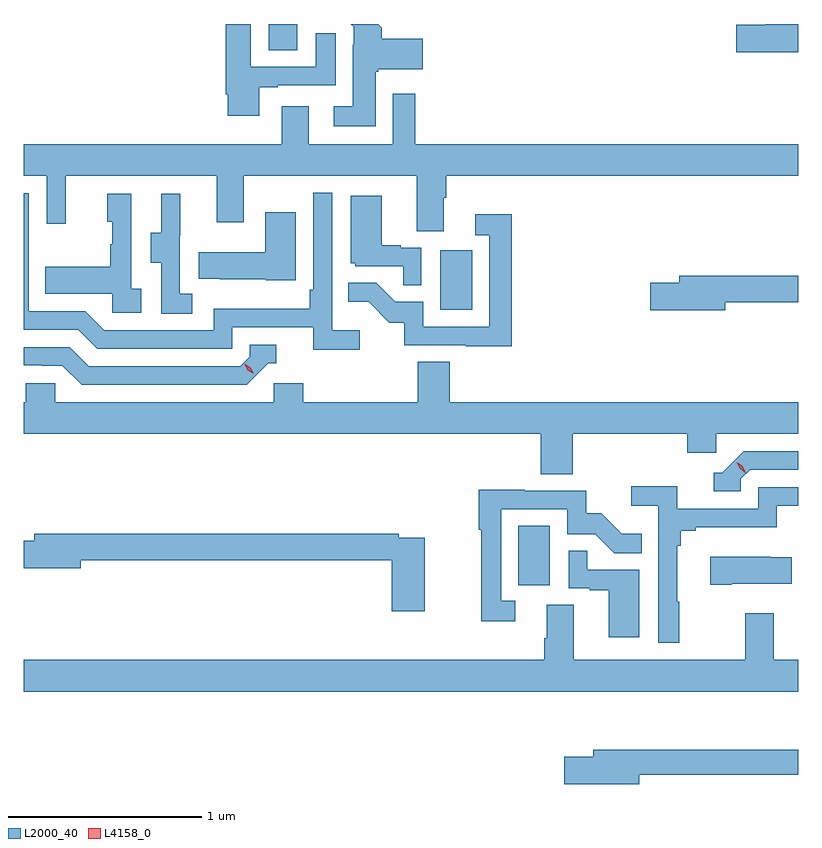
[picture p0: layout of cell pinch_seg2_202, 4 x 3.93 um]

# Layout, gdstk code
import gdstk
lib = gdstk.Library(unit=1e-6, precision=1e-09)
def R(c, l, rs):  # rectangles x0, y0, x1, y1
    for r in rs: c.add(gdstk.rectangle(r[:2], r[2:], *l))
def P(c, l, *ps):  # polygons
    for p in ps: c.add(gdstk.Polygon(p, *l))
L2000_40 = (2000, 40)
L4158_0 = (4158, 0)

pinch_seg2_202 = lib.new_cell('pinch_seg2_202')
R(pinch_seg2_202, L2000_40, [(972.068,649.518,972.232,649.825), (971.666,650.94,971.83,651.247), (970.778,652.282,970.927,652.417)])
P(pinch_seg2_202, L2000_40, [(970.729,652.089),(970.825,652.089),(970.825,652.101),(971.125,652.101),(971.125,652.369),(971.021,652.369),(971.021,652.197),(970.687,652.197),(970.687,652.417),(970.556,652.417),(970.556,652.054),(970.568,652.054),(970.568,651.942),(970.729,651.942)],
  [(973.514,652.417),(973.343,652.417),(973.343,652.412),(973.194,652.412),(973.194,652.27),(973.514,652.27)],
  [(971.332,652.17),(971.346,652.17),(971.346,652.184),(971.575,652.184),(971.575,652.342),(971.363,652.342),(971.363,652.398),(971.344,652.417),(971.204,652.417),(971.217,652.404),(971.217,652.31),(971.213,652.31),(971.213,651.991),(971.115,651.991),(971.115,651.89),(971.332,651.89)],
  [(971.683,651.52),(971.696,651.52),(971.696,651.632),(973.514,651.632),(973.514,651.796),(971.537,651.796),(971.537,652.057),(971.421,652.057),(971.421,651.796),(970.987,651.796),(970.987,651.991),(970.847,651.991),(970.847,651.796),(969.514,651.796),(969.514,651.632),(969.633,651.632),(969.633,651.384),(969.731,651.384),(969.731,651.632),(970.511,651.632),(970.511,651.393),(970.651,651.393),(970.651,651.632),(971.543,651.632),(971.543,651.346),(971.683,651.346)],
  [(971.248,650.836),(971.106,650.836),(971.106,651.544),(971.01,651.544),(971.01,651.043),(970.99,651.043),(970.99,650.947),(970.494,650.947),(970.494,650.835),(969.93,650.835),(969.831,650.934),(969.54,650.934),(969.54,651.543),(969.514,651.543),(969.514,650.838),(969.794,650.838),(969.893,650.739),(970.59,650.739),(970.59,650.85),(971.009,650.85),(971.009,650.734),(971.248,650.734)],
  [(970.384,651.023),(970.32,651.023),(970.32,651.327),(970.322,651.327),(970.322,651.541),(970.223,651.541),(970.223,651.339),(970.169,651.339),(970.169,651.184),(970.224,651.184),(970.224,650.92),(970.384,650.92)],
  [(970.12,651.05),(970.068,651.05),(970.068,651.541),(969.944,651.541),(969.944,651.396),(969.97,651.396),(969.97,651.278),(969.96,651.278),(969.96,651.163),(969.625,651.163),(969.625,651.023),(969.972,651.023),(969.972,650.925),(970.12,650.925)],
  [(971.568,651.261),(971.462,651.261),(971.462,651.274),(971.362,651.274),(971.362,651.529),(971.204,651.529),(971.204,651.18),(971.226,651.18),(971.226,651.165),(971.473,651.165),(971.473,651.067),(971.568,651.067)],
  [(970.918,651.445),(970.76,651.445),(970.76,651.238),(970.417,651.238),(970.417,651.101),(970.525,651.101),(970.525,651.098),(970.764,651.098),(970.764,651.092),(970.918,651.092)],
  [(972.035,651.433),(971.847,651.433),(971.847,651.327),(971.919,651.327),(971.919,650.853),(971.577,650.853),(971.577,650.982),(971.433,650.982),(971.335,651.08),(971.191,651.08),(971.191,650.981),(971.295,650.981),(971.402,650.874),(971.479,650.874),(971.479,650.757),(971.797,650.757),(971.797,650.752),(972.035,650.752)],
  [(973.138,650.98),(973.514,650.98),(973.514,651.116),(972.899,651.116),(972.899,651.08),(972.75,651.08),(972.75,650.938),(973.138,650.938)],
  [(970.776,650.664),(970.819,650.664),(970.819,650.76),(970.68,650.76),(970.68,650.697),(970.632,650.649),(969.849,650.649),(969.75,650.748),(969.514,650.748),(969.514,650.655),(969.606,650.655),(969.606,650.652),(969.713,650.652),(969.812,650.553),(970.665,650.553)],
  [(972.35,650.3),(972.941,650.3),(972.941,650.202),(973.092,650.202),(973.092,650.3),(973.514,650.3),(973.514,650.464),(971.714,650.464),(971.714,650.672),(971.549,650.672),(971.549,650.464),(970.958,650.464),(970.958,650.562),(970.806,650.562),(970.806,650.464),(969.675,650.464),(969.675,650.562),(969.525,650.562),(969.525,650.464),(969.514,650.464),(969.514,650.3),(972.185,650.3),(972.185,650.092),(972.35,650.092)],
  [(973.218,650.067),(973.266,650.115),(973.514,650.115),(973.514,650.211),(973.233,650.211),(973.122,650.1),(973.079,650.1),(973.079,650.004),(973.218,650.004)],
  [(972.901,649.433),(972.889,649.433),(972.889,649.721),(972.908,649.721),(972.908,649.798),(972.985,649.798),(972.985,649.817),(973.404,649.817),(973.404,649.929),(973.514,649.929),(973.514,650.025),(973.308,650.025),(973.308,649.914),(972.89,649.914),(972.89,650.03),(972.651,650.03),(972.651,649.928),(972.792,649.928),(972.792,649.221),(972.901,649.221)],
  [(972.052,649.437),(971.979,649.437),(971.979,649.911),(972.321,649.911),(972.321,649.782),(972.465,649.782),(972.563,649.684),(972.707,649.684),(972.707,649.783),(972.603,649.783),(972.496,649.89),(972.42,649.89),(972.42,650.007),(972.101,650.007),(972.101,650.012),(971.863,650.012),(971.863,649.804),(971.878,649.804),(971.878,649.332),(972.052,649.332)],
  [(971.584,649.764),(971.45,649.764),(971.45,649.784),(969.569,649.784),(969.569,649.748),(969.514,649.748),(969.514,649.606),(969.808,649.606),(969.808,649.648),(971.414,649.648),(971.414,649.383),(971.584,649.383)],
  [(972.694,649.599),(972.425,649.599),(972.425,649.697),(972.33,649.697),(972.33,649.503),(972.437,649.503),(972.437,649.491),(972.536,649.491),(972.536,649.248),(972.694,649.248)],
  [(973.171,649.526),(973.481,649.526),(973.481,649.663),(973.373,649.663),(973.373,649.666),(973.059,649.666),(973.059,649.519),(973.171,649.519)],
  [(973.514,649.132),(973.387,649.132),(973.387,649.372),(973.24,649.372),(973.24,649.132),(972.355,649.132),(972.355,649.418),(972.215,649.418),(972.215,649.244),(972.203,649.244),(972.203,649.132),(969.514,649.132),(969.514,648.968),(973.514,648.968)],
  [(972.694,648.538),(973.514,648.538),(973.514,648.667),(972.455,648.667),(972.455,648.633),(972.306,648.633),(972.306,648.491),(972.694,648.491)])
P(pinch_seg2_202, L4158_0, [(970.701,650.609),(970.67,650.629),(970.654,650.661),(970.654,650.662),(970.654,650.662),(970.685,650.642),(970.702,650.61),(970.702,650.609)],
  [(973.241,650.1),(973.211,650.121),(973.196,650.154),(973.196,650.154),(973.196,650.154),(973.226,650.134),(973.242,650.1),(973.242,650.1)])

lib.write_gds('pinch_seg2_202.gds')
